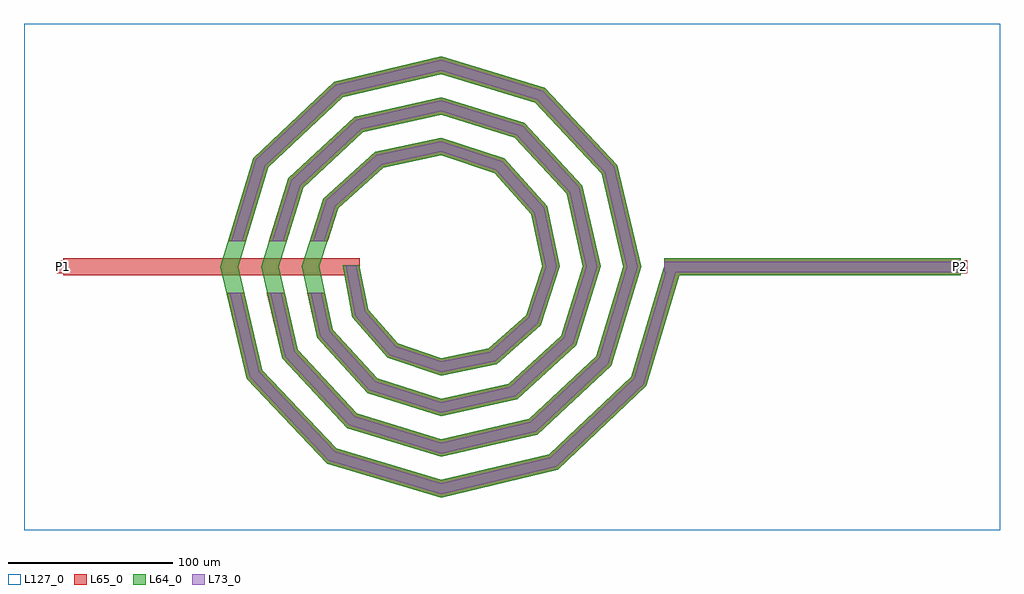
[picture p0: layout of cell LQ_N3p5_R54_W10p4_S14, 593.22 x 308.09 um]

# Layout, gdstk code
import gdstk
lib = gdstk.Library(unit=1e-6, precision=1e-09)
def R(c, l, rs):  # rectangles x0, y0, x1, y1
    for r in rs: c.add(gdstk.rectangle(r[:2], r[2:], *l))
def P(c, l, *ps):  # polygons
    for p in ps: c.add(gdstk.Polygon(p, *l))
L64_0 = (64, 0)
L65_0 = (65, 0)
L73_0 = (73, 0)
L127_0 = (127, 0)

lq_n3p5_r54_w10p4_s14 = lib.new_cell('LQ_N3p5_R54_W10p4_S14')
R(lq_n3p5_r54_w10p4_s14, L64_0, [(135.802,-5.2,315.802,5.2)])
P(lq_n3p5_r54_w10p4_s14, L64_0, [(-44.249,-25.967),(-26.376,-46.387),(0.339,-55.416),(29.02,-49.608),(51.712,-29.489),(61.585,0.308),(54.965,32.079),(32.597,57.041),(0.282,67.754),(-35.143,60.32),(-62.372,35.702),(-73.923,0.26),(-65.673,-38.209),(-38.803,-67.705),(0.242,-80.092),(41.279,-71.025),(73.039,-41.903),(86.262,0.225),(76.375,44.35),(45.001,78.375),(0.211,92.431),(-47.423,81.725),(-83.711,48.097),(-98.601,0.199),(-87.074,-50.497),(-51.192,-89.048),(0.187,-104.771),(53.573,-92.423),(94.386,-54.285),(110.94,0.178),(97.771,56.65),(57.378,99.725),(0.169,117.11),(-59.727,103.119),(-105.064,60.47),(-123.28,0.161),(-108.466,-62.805),(-63.562,-110.404),(0.153,-129.45),(65.884,-113.813),(115.743,-66.653),(136.018,1.483),(145.986,-1.483),(124.916,-72.292),(71.004,-123.285),(0.153,-140.213),(-69.213,-119.569),(-117.945,-67.913),(-134.043,0.161),(-114.222,66.134),(-64.821,112.605),(0.169,127.873),(63.056,108.874),(107.266,61.728),(121.702,0.178),(103.526,-59.979),(58.635,-101.927),(0.187,-115.532),(-56.903,-98.177),(-96.588,-55.54),(-109.361,0.199),(-92.827,53.828),(-52.445,91.251),(0.211,103.191),(50.754,87.477),(85.914,49.348),(97.02,0.225),(82.125,-47.681),(46.249,-80.577),(0.242,-90.85),(-44.611,-76.773),(-75.242,-43.148),(-84.679,0.26),(-71.419,41.542),(-40.045,69.908),(0.282,78.508),(38.477,66.063),(64.576,36.938),(72.336,0.308),(60.705,-35.415),(33.827,-59.246),(0.339,-66.165),(-32.358,-55.343),(-53.919,-30.71),(-59.724,0.997),(-49.517,0.997)])
R(lq_n3p5_r54_w10p4_s14, L65_0, [(-229.42,-5.2,-49.42,5.2), (135.802,-5.2,315.802,5.2), (-233.42,-4,-225.42,4), (311.802,-4,319.802,4)])
P(lq_n3p5_r54_w10p4_s14, L65_0, [(-108.466,-62.805),(-63.562,-110.404),(0.153,-129.45),(65.884,-113.813),(115.744,-66.653),(136.018,1.483),(145.986,-1.483),(124.916,-72.292),(71.004,-123.285),(0.153,-140.213),(-69.213,-119.569),(-117.945,-67.913),(-130.316,-15.6),(-119.629,-15.6)],
  [(-87.075,-50.497),(-51.192,-89.048),(0.188,-104.771),(53.573,-92.423),(94.387,-54.285),(110.94,0.178),(97.771,56.65),(57.378,99.725),(0.169,117.11),(-59.727,103.119),(-105.064,60.47),(-118.545,15.6),(-129.404,15.6),(-114.222,66.134),(-64.821,112.605),(0.169,127.873),(63.056,108.874),(107.266,61.728),(121.702,0.178),(103.526,-59.979),(58.635,-101.927),(0.188,-115.532),(-56.903,-98.177),(-96.588,-55.541),(-105.741,-15.6),(-95.072,-15.6)],
  [(-65.673,-38.209),(-38.804,-67.705),(0.242,-80.092),(41.279,-71.025),(73.039,-41.903),(86.262,0.225),(76.376,44.35),(45.001,78.375),(0.211,92.431),(-47.423,81.725),(-83.711,48.097),(-93.73,15.6),(-104.613,15.6),(-92.827,53.828),(-52.445,91.251),(0.211,103.191),(50.754,87.477),(85.914,49.348),(97.02,0.225),(82.126,-47.681),(46.249,-80.577),(0.242,-90.85),(-44.611,-76.773),(-75.242,-43.148),(-81.231,-15.6),(-70.588,-15.6)],
  [(-26.376,-46.387),(0.339,-55.416),(29.021,-49.608),(51.712,-29.489),(61.585,0.308),(54.965,32.08),(32.597,57.041),(0.282,67.754),(-35.143,60.32),(-62.372,35.702),(-68.828,15.6),(-79.752,15.6),(-71.419,41.542),(-40.045,69.908),(0.282,78.508),(38.477,66.063),(64.576,36.938),(72.337,0.308),(60.705,-35.415),(33.827,-59.246),(0.339,-66.165),(-32.358,-55.343),(-53.919,-30.71),(-59.724,0.997),(-49.517,0.997),(-44.249,-25.967)])
R(lq_n3p5_r54_w10p4_s14, L73_0, [(135.802,-3.2,315.802,3.2)])
P(lq_n3p5_r54_w10p4_s14, L73_0, [(-110.289,-63.788),(-64.649,-112.166),(0.094,-131.52),(66.869,-115.634),(117.508,-67.737),(137.935,0.913),(144.069,0.913),(123.152,-71.208),(70.02,-121.463),(0.094,-138.143),(-68.126,-117.807),(-116.122,-66.931),(-128.261,-15.6),(-121.684,-15.6)],
  [(-88.904,-51.467),(-52.29,-90.804),(0.115,-106.84),(54.546,-94.251),(96.144,-55.38),(113.01,0.109),(99.597,57.626),(58.47,101.485),(0.104,119.18),(-60.707,104.943),(-106.825,61.56),(-120.633,15.6),(-127.316,15.6),(-112.461,65.045),(-63.841,110.781),(0.104,125.803),(61.965,107.115),(105.44,60.752),(119.633,0.109),(101.768,-58.884),(57.662,-100.099),(0.115,-113.462),(-55.805,-96.421),(-94.759,-54.571),(-103.689,-15.6),(-97.123,-15.6)],
  [(-67.513,-39.159),(-39.92,-69.449),(0.149,-82.161),(42.234,-72.862),(74.786,-43.014),(88.331,0.139),(78.21,45.311),(46.107,80.125),(0.13,94.5),(-48.389,83.557),(-85.464,49.199),(-95.823,15.6),(-102.52,15.6),(-91.074,52.726),(-51.479,89.419),(0.13,101.122),(49.647,85.726),(84.079,48.387),(94.951,0.139),(80.378,-46.57),(45.293,-78.74),(0.149,-88.781),(-43.494,-75.029),(-73.402,-42.198),(-79.184,-15.6),(-72.635,-15.6)],
  [(-27.526,-48.109),(0.209,-57.483),(29.945,-51.462),(53.442,-30.629),(63.652,0.19),(56.814,33.014),(33.728,58.776),(0.174,69.822),(-36.085,62.164),(-64.112,36.825),(-70.929,15.6),(-77.651,15.6),(-69.679,40.419),(-39.102,68.065),(0.174,76.44),(37.346,64.328),(62.728,36.004),(70.269,0.19),(58.975,-34.275),(32.902,-57.393),(0.209,-64.098),(-31.208,-53.621),(-52.059,-29.798),(-57.761,0.614),(-51.48,0.614),(-46.108,-26.879)])
R(lq_n3p5_r54_w10p4_s14, L127_0, [(-253.42,-160.213,339.802,147.873)])
lq_n3p5_r54_w10p4_s14.add(gdstk.Label('P2', (315.802,0), layer=65, texttype=0))
lq_n3p5_r54_w10p4_s14.add(gdstk.Label('P1', (-229.42,0), layer=65, texttype=0))
lq_n3p5_r54_w10p4_s14.add(gdstk.Label('P2', (319.802,0), layer=145, texttype=0))
lq_n3p5_r54_w10p4_s14.add(gdstk.Label('P1', (-233.42,0), layer=145, texttype=0))

lib.write_gds('LQ_N3p5_R54_W10p4_S14.gds')
